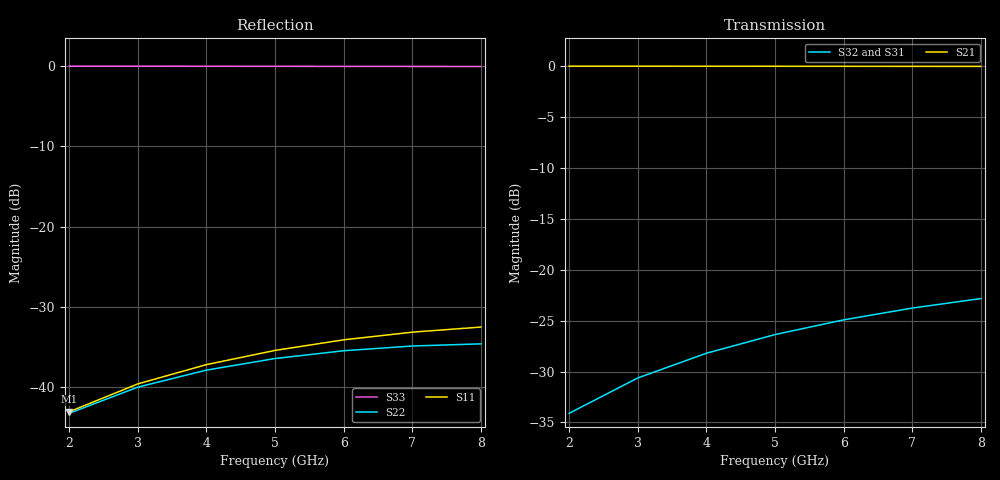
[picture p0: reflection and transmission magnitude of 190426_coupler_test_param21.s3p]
! Sonnet Data File
! From: emgraph Version : 16.56
! From Project: 190426_coupler_test
! Data is De-embedded
! Data File Written: 05/06/2019 15:59:44
!< HDATE 04/25/2019 10:48:44
!< MDATE 04/25/2019 10:59:35
!< PARAMS
!< tandelta = 0.0
!< t_aSi = 0.25
!< W = 10.0
!< Lcoupler = 2000.0
!< END PARAMS
# GHZ S MA R 50.0 !  non standard terminations in data
! TERM 50.00000 0.000000 50.00000 0.000000 63.84000 0.000000
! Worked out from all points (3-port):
!   7 points, 2 GHz to 8 GHz, reference 50 ohm
!   strongest paths, dB at 2 GHz, 3 GHz, 5 GHz, 7 GHz, 8 GHz:
!     S21: 0.0, 0.0, 0.0, 0.0, 0.0
!     S32: -34.1, -30.6, -26.4, -23.8, -22.8
!     S31: -34.1, -30.7, -26.5, -23.9, -23.0
!   lowest |S11| = -43.1 dB at 2 GHz (marker M1), VSWR 1.01, Z = 50.3 + j0.657 ohm
!   |S11| at or under -10 dB: start of sweep to end of sweep
2  0.007037 68.3  0.9998 -21.7  0.01966 52.9
   0.9998 -21.7  0.006887 71.2  0.01972 77.1
   0.01966 52.9  0.01972 77.1  0.9996 -28.8
3  0.0105 57.0  0.9995 -32.5  0.02925 34.3
   0.9995 -32.5  0.01002 61.9  0.02941 70.5
   0.02925 34.3  0.02941 70.5  0.9991 -43.2
4  0.01384 45.2  0.9992 -43.4  0.03853 15.7
   0.9992 -43.4  0.01279 52.6  0.03889 63.9
   0.03853 15.7  0.03889 63.9  0.9985 -57.6
5  0.01697 32.8  0.9987 -54.2  0.04741 -2.9
   0.9987 -54.2  0.01511 43.5  0.04804 57.1
   0.04741 -2.9  0.04804 57.1  0.9977 -72.1
6  0.01975 19.7  0.9982 -65.1  0.0558 -21.6
   0.9982 -65.1  0.01689 34.4  0.05673 50.3
   0.0558 -21.6  0.05673 50.3  0.9968 -86.6
7  0.02205 5.9  0.9977 -75.9  0.06359 -40.2
   0.9977 -75.9  0.01808 25.6  0.06483 43.4
   0.06359 -40.2  0.06483 43.4  0.9959 -101.2
8  0.02372 -8.6  0.9972 -86.7  0.07069 -58.8
   0.9972 -86.7  0.01865 17.0  0.07219 36.4
   0.07069 -58.8  0.07219 36.4  0.9949 -115.8
